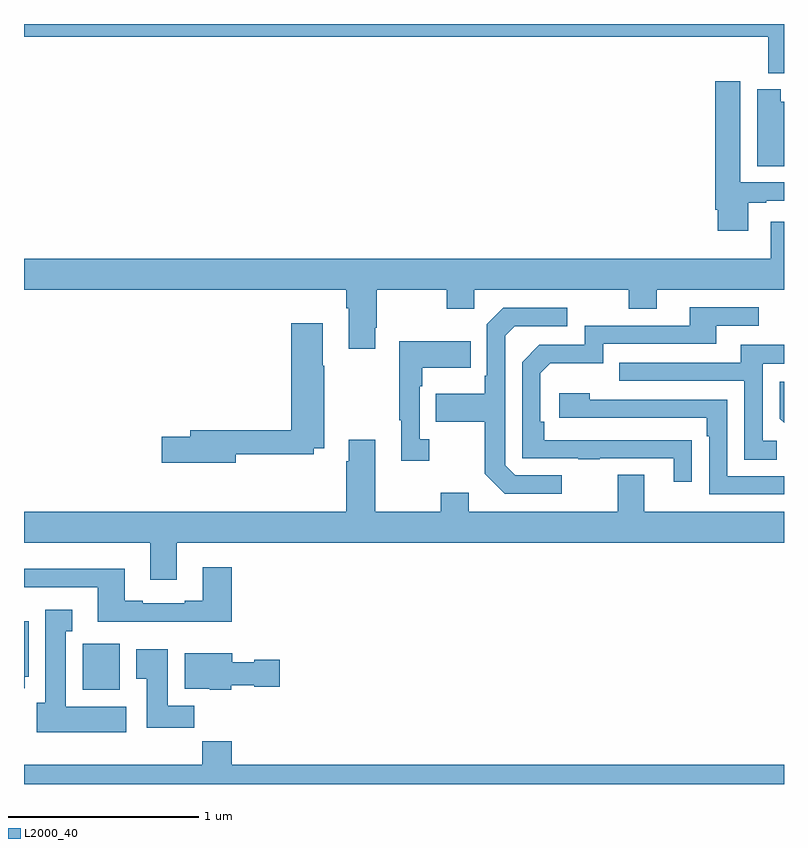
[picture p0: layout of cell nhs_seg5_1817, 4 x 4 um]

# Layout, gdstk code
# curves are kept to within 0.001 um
import gdstk
lib = gdstk.Library(unit=1e-6, precision=1e-09)
def R(c, l, rs):  # rectangles x0, y0, x1, y1
    for r in rs: c.add(gdstk.rectangle(r[:2], r[2:], *l))
def P(c, l, *ps):  # polygons
    for p in ps: c.add(gdstk.Polygon(p, *l))
L2000_40 = (2000, 40)

nhs_seg5_1817 = lib.new_cell('nhs_seg5_1817')
R(nhs_seg5_1817, L2000_40, [(219.308,881.294,219.505,881.536)])
P(nhs_seg5_1817, L2000_40, [(223,884.799),(219,884.799),(219,884.732),(222.917,884.732),(222.917,884.54),(223,884.54)],
  [(222.811,883.857),(222.907,883.857),(222.907,883.869),(223,883.869),(223,883.965),(222.769,883.965),(222.769,884.497),(222.638,884.497),(222.638,883.822),(222.65,883.822),(222.65,883.71),(222.811,883.71)],
  [(223,884.391),(222.982,884.391),(222.982,884.455),(222.86,884.455),(222.86,884.05),(223,884.05)],
  [(219,883.4),(220.697,883.4),(220.697,883.304),(220.709,883.304),(220.709,883.089),(220.849,883.089),(220.849,883.201),(220.857,883.201),(220.857,883.4),(221.224,883.4),(221.224,883.301),(221.37,883.301),(221.37,883.4),(222.184,883.4),(222.184,883.301),(222.331,883.301),(222.331,883.4),(223,883.4),(223,883.759),(222.929,883.759),(222.929,883.564),(219,883.564)],
  [(222.515,882.608),(221.738,882.609),(221.738,882.706),(221.718,882.706),(221.718,882.96),(221.771,883.013),(222.048,883.013),(222.048,883.116),(222.643,883.116),(222.643,883.212),(222.868,883.212),(222.868,883.308),(222.503,883.308),(222.503,883.212),(221.952,883.212),(221.952,883.11),(221.712,883.11),(221.622,883.02),(221.622,882.513),(221.917,882.513),(221.917,882.508),(222.029,882.508),(222.029,882.513),(222.419,882.513),(222.419,882.39),(222.515,882.39)],
  [(221.83,882.423),(221.586,882.423),(221.532,882.477),(221.532,883.158),(221.583,883.209),(221.86,883.209),(221.86,883.305),(221.523,883.305),(221.436,883.218),(221.436,882.949),(221.424,882.949),(221.424,882.853),(221.167,882.853),(221.167,882.706),(221.424,882.706),(221.424,882.433),(221.529,882.327),(221.83,882.327)],
  [(220.114,882.534),(220.524,882.534),(220.524,882.566),(220.581,882.566),(220.581,883.001),(220.573,883.001),(220.573,883.225),(220.406,883.225),(220.406,882.662),(219.875,882.662),(219.875,882.626),(219.726,882.626),(219.726,882.491),(220.114,882.491)],
  [(221.134,882.614),(221.082,882.614),(221.082,882.893),(221.095,882.893),(221.095,882.989),(221.351,882.989),(221.351,883.129),(220.974,883.129),(220.974,882.713),(220.985,882.713),(220.985,882.501),(221.134,882.501)],
  [(222.961,882.606),(222.888,882.606),(222.888,883.011),(223,883.011),(223,883.111),(222.773,883.111),(222.773,883.017),(222.133,883.017),(222.133,882.921),(222.792,882.921),(222.792,882.505),(222.961,882.505)],
  [(223,882.916),(222.978,882.916),(222.978,882.722),(223,882.7)],
  [(223,882.42),(222.702,882.42),(222.702,882.822),(221.978,882.822),(221.978,882.856),(221.817,882.856),(221.817,882.726),(222.593,882.726),(222.593,882.629),(222.606,882.629),(222.606,882.324),(223,882.324)],
  [(219.805,882.068),(223,882.068),(223,882.232),(222.265,882.232),(222.265,882.427),(222.125,882.427),(222.125,882.232),(221.341,882.232),(221.341,882.331),(221.194,882.331),(221.194,882.232),(220.849,882.232),(220.849,882.61),(220.709,882.61),(220.709,882.497),(220.697,882.497),(220.697,882.232),(219,882.232),(219,882.068),(219.665,882.068),(219.665,881.874),(219.805,881.874)],
  [(220.094,881.941),(219.941,881.941),(219.941,881.764),(219.845,881.764),(219.845,881.751),(219.625,881.751),(219.625,881.764),(219.529,881.764),(219.529,881.932),(219,881.932),(219,881.835),(219.389,881.835),(219.389,881.654),(220.094,881.654)],
  [(219.538,881.206),(219.22,881.206),(219.22,881.603),(219.253,881.603),(219.253,881.716),(219.113,881.716),(219.113,881.226),(219.068,881.226),(219.068,881.072),(219.538,881.072)],
  [(219.004,881.364),(219.025,881.364),(219.025,881.656),(219,881.656),(219,881.304),(219.004,881.304)],
  [(219.896,881.212),(219.757,881.212),(219.757,881.509),(219.59,881.509),(219.59,881.353),(219.647,881.353),(219.647,881.094),(219.896,881.094)],
  [(220.092,881.318),(220.212,881.318),(220.212,881.311),(220.345,881.311),(220.345,881.453),(220.212,881.453),(220.212,881.44),(220.096,881.44),(220.096,881.488),(219.845,881.488),(219.845,881.3),(219.978,881.3),(219.978,881.294),(220.092,881.294)],
  [(223,880.9),(220.094,880.9),(220.094,881.024),(219.937,881.024),(219.937,880.9),(219,880.9),(219,880.799),(223,880.799)])

lib.write_gds('nhs_seg5_1817.gds')
